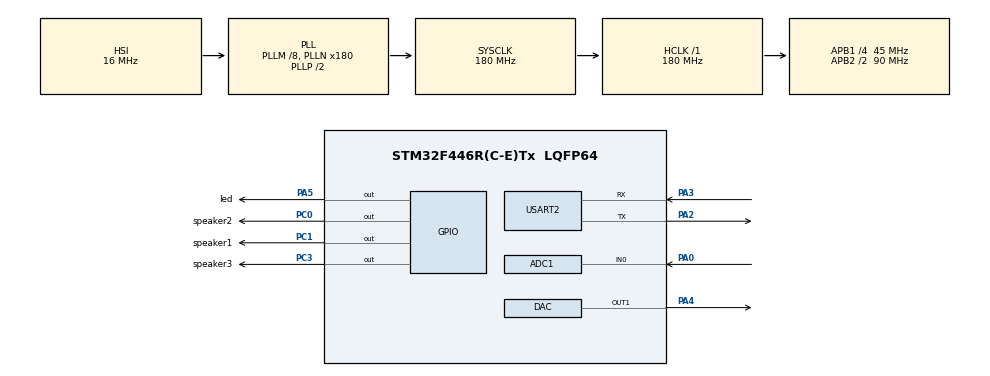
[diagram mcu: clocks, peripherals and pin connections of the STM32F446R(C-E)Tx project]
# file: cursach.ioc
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ADC1.Channel-0\#ChannelRegularConversion=ADC_CHANNEL_0
ADC1.ClockPrescaler=ADC_CLOCK_SYNC_PCLK_DIV4
ADC1.EOCSelection=ADC_EOC_SEQ_CONV
ADC1.ExternalTrigConv=ADC_EXTERNALTRIGCONV_T3_TRGO
ADC1.NbrOfConversionFlag=1
ADC1.Rank-0\#ChannelRegularConversion=1
ADC1.SamplingTime-0\#ChannelRegularConversion=ADC_SAMPLETIME_3CYCLES
ADC1.master=1
DAC.DAC_Trigger=DAC_TRIGGER_T2_TRGO
Dma.DAC1.0.Direction=DMA_MEMORY_TO_PERIPH
Dma.DAC1.0.FIFOMode=DMA_FIFOMODE_ENABLE
Dma.DAC1.0.FIFOThreshold=DMA_FIFO_THRESHOLD_FULL
Dma.DAC1.0.Instance=DMA1_Stream5
Dma.DAC1.0.MemBurst=DMA_MBURST_SINGLE
Dma.DAC1.0.MemDataAlignment=DMA_MDATAALIGN_WORD
Dma.DAC1.0.MemInc=DMA_MINC_ENABLE
Dma.DAC1.0.Mode=DMA_CIRCULAR
Dma.DAC1.0.PeriphBurst=DMA_PBURST_SINGLE
Dma.DAC1.0.PeriphDataAlignment=DMA_PDATAALIGN_WORD
Dma.DAC1.0.PeriphInc=DMA_PINC_DISABLE
Dma.DAC1.0.Priority=DMA_PRIORITY_LOW
Dma.Request0=DAC1
Mcu.Family=STM32F4
Mcu.Name=STM32F446R(C-E)Tx
Mcu.Package=LQFP64
NVIC.ADC_IRQn=true\:0\:0\:false\:false\:true\:true\:true\:true
NVIC.DMA1_Stream5_IRQn=true\:0\:0\:false\:false\:true\:false\:true\:true
NVIC.PriorityGroup=NVIC_PRIORITYGROUP_4
NVIC.TIM2_IRQn=true\:0\:0\:false\:false\:true\:true\:true\:true
NVIC.TIM3_IRQn=true\:0\:0\:false\:false\:true\:true\:true\:true
NVIC.USART2_IRQn=true\:0\:0\:false\:false\:true\:true\:true\:true
PA0-WKUP.Signal=ADCx_IN0
PA13.Mode=Serial_Wire
PA13.Signal=SYS_JTMS-SWDIO
PA14.Mode=Serial_Wire
PA14.Signal=SYS_JTCK-SWCLK
PA2.Mode=Asynchronous
PA2.Signal=USART2_TX
PA3.Mode=Asynchronous
PA3.Signal=USART2_RX
PA4.Signal=COMP_DAC1_group
PA5.GPIO_Label=led
PA5.Signal=GPIO_Output
PC0.GPIO_Label=speaker2
PC0.GPIO_Speed=GPIO_SPEED_FREQ_HIGH
PC0.PinState=GPIO_PIN_RESET
PC0.Signal=GPIO_Output
PC1.GPIO_Label=speaker1
PC1.GPIO_Speed=GPIO_SPEED_FREQ_HIGH
PC1.PinState=GPIO_PIN_RESET
PC1.Signal=GPIO_Output
PC3.GPIO_Label=speaker3
PC3.GPIO_Speed=GPIO_SPEED_FREQ_HIGH
PC3.PinState=GPIO_PIN_RESET
PC3.Signal=GPIO_Output
PH0-OSC_IN.Mode=HSE-External-Oscillator
PH0-OSC_IN.Signal=RCC_OSC_IN
PH1-OSC_OUT.Mode=HSE-External-Oscillator
PH1-OSC_OUT.Signal=RCC_OSC_OUT
ProjectManager.HeapSize=0x200
ProjectManager.StackSize=0x400
ProjectManager.TargetToolchain=STM32CubeIDE
RCC.AHBFreq_Value=180000000
RCC.APB1CLKDivider=RCC_HCLK_DIV4
RCC.APB1Freq_Value=45000000
RCC.APB1TimFreq_Value=90000000
RCC.APB2CLKDivider=RCC_HCLK_DIV2
RCC.APB2Freq_Value=90000000
RCC.APB2TimFreq_Value=180000000
RCC.CortexFreq_Value=180000000
RCC.HCLKFreq_Value=180000000
RCC.PLLM=8
RCC.PLLN=180
RCC.SYSCLKFreq_VALUE=180000000
RCC.SYSCLKSource=RCC_SYSCLKSOURCE_PLLCLK
RCC.USBFreq_Value=180000000
RCC.VCOOutputFreq_Value=360000000
SH.ADCx_IN0.0=ADC1_IN0,IN0
SH.COMP_DAC1_group.0=DAC_OUT1,DAC_OUT1
TIM2.Period=562
TIM2.Prescaler=1
TIM2.TIM_MasterOutputTrigger=TIM_TRGO_UPDATE
TIM2.TIM_MasterSlaveMode=TIM_MASTERSLAVEMODE_ENABLE
TIM3.Period=562
TIM3.Prescaler=1
TIM3.TIM_MasterOutputTrigger=TIM_TRGO_UPDATE
TIM3.TIM_MasterSlaveMode=TIM_MASTERSLAVEMODE_ENABLE
USART2.VirtualMode=VM_ASYNC
VP_TIM2_VS_ClockSourceITR.Mode=TriggerSource_ITR0
VP_TIM3_VS_ClockSourceITR.Mode=TriggerSource_ITR0
board=custom

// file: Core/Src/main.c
/* USER CODE BEGIN Header */
/**
  ******************************************************************************
  * @file           : main.c
  * @brief          : Main program body
  ******************************************************************************
  * @attention
  *
  * Copyright (c) 2025 STMicroelectronics.
  * All rights reserved.
  *
  * This software is licensed under terms that can be found in the LICENSE file
  * in the root directory of this software component.
  * If no LICENSE file comes with this software, it is provided AS-IS.
  *
  ******************************************************************************
  */
/* USER CODE END Header */
#include "main.h"

/* USER CODE BEGIN Includes */
#include "math.h"
/* USER CODE END Includes */

/* USER CODE BEGIN PD */
#define MasSize 416
#define ADCIn MasSize + 200
/* USER CODE END PD */

ADC_HandleTypeDef hadc1;

DAC_HandleTypeDef hdac;
DMA_HandleTypeDef hdma_dac1;

TIM_HandleTypeDef htim2;
TIM_HandleTypeDef htim3;

UART_HandleTypeDef huart2;

/* USER CODE BEGIN PV */
const uint32_t Bark[MasSize] = {1736,2075,2400,2700,2964,3179,3340,3439,3472,3439,3340,3179,2964,2700,2400,2075,1736,1397,1072,772,508,293,132,33,0,33,132,293,508,772,1072,1397,1736,2075,2400,2700,2964,3179,3340,3439,3472,3439,3340,3179,2964,2700,2400,2075,1736,1397,1072,772,508,293,132,33,0,33,132,293,508,772,1072,1397,1736,2075,2400,2700,2964,3179,3340,3439,3472,3439,3340,3179,2964,2700,2400,2075,1736,1397,1072,772,508,293,132,33,0,33,132,293,508,772,1072,1397,1736,2075,2400,2700,2964,3179,3340,3439,3472,3439,3340,3179,2964,2700,2400,2075,1736,1397,1072,772,508,293,132,33,0,33,132,293,508,772,1072,1397,1736,2075,2400,2700,2964,3179,3340,3439,3472,3439,3340,3179,2964,2700,2400,2075,1736,1397,1072,772,508,293,132,33,0,33,132,293,508,772,1072,1397,1736,1397,1072,772,508,293,132,33,0,33,132,293,508,772,1072,1397,1736,2075,2400,2700,2964,3179,3340,3439,3472,3439,3340,3179,2964,2700,2400,2075,1736,1397,1072,772,508,293,132,33,0,33,132,293,508,772,1072,1397,1736,2075,2400,2700,2964,3179,3340,3439,3472,3439,3340,3179,2964,2700,2400,2075,1736,2075,2400,2700,2964,3179,3340,3439,3472,3439,3340,3179,2964,2700,2400,2075,1736,1397,1072,772,508,293,132,33,0,33,132,293,508,772,1072,1397,1736,2075,2400,2700,2964,3179,3340,3439,3472,3439,3340,3179,2964,2700,2400,2075,1736,1397,1072,772,508,293,132,33,0,33,132,293,508,772,1072,1397,1736,1397,1072,772,508,293,132,33,0,33,132,293,508,772,1072,1397,1736,2075,2400,2700,2964,3179,3340,3439,3472,3439,3340,3179,2964,2700,2400,2075,1736,2075,2400,2700,2964,3179,3340,3439,3472,3439,3340,3179,2964,2700,2400,2075,1736,1397,1072,772,508,293,132,33,0,33,132,293,508,772,1072,1397,1736,1397,1072,772,508,293,132,33,0,33,132,293,508,772,1072,1397,1736,2075,2400,2700,2964,3179,3340,3439,3472,3439,3340,3179,2964,2700,2400,2075,1736,2075,2400,2700,2964,3179,3340,3439,3472,3439,3340,3179,2964,2700,2400,2075,1736,1397,1072,772,508,293,132,33,0,33,132,293,508,772,1072,1397};
int32_t buff[ADCIn];
uint16_t num = 0;
volatile int32_t corr = 0;
volatile uint16_t distance = 0;
uint8_t speakerNum = 1;
unsigned char a, buf[3];
unsigned char micdebug[4];
volatile int32_t debug1 = 0;
/* USER CODE END PV */

void SystemClock_Config(void);
static void MX_GPIO_Init(void);
static void MX_DMA_Init(void);
static void MX_ADC1_Init(void);
static void MX_DAC_Init(void);
static void MX_USART2_UART_Init(void);
static void MX_TIM2_Init(void);
static void MX_TIM3_Init(void);
/* USER CODE BEGIN PFP */
void autocorr(int32_t *mas1, const uint32_t *mas2);
int32_t calculateAverage(int32_t *mas1, int32_t length);
/* USER CODE END PFP */

int main(void)
{

  /* MCU Configuration--------------------------------------------------------*/

  /* Reset of all peripherals, Initializes the Flash interface and the Systick. */
  HAL_Init();

  /* Configure the system clock */
  SystemClock_Config();

  /* Initialize all configured peripherals */
  MX_GPIO_Init();
  MX_DMA_Init();
  MX_ADC1_Init();
  MX_DAC_Init();
  MX_USART2_UART_Init();
  MX_TIM2_Init();
  MX_TIM3_Init();
  /* USER CODE BEGIN 2 */
  // Включение первого динамика
  HAL_GPIO_WritePin(GPIOC, GPIO_PIN_1, GPIO_PIN_SET);
  HAL_GPIO_WritePin(GPIOC, GPIO_PIN_0, GPIO_PIN_RESET);
  HAL_GPIO_WritePin(GPIOC, GPIO_PIN_3, GPIO_PIN_RESET);
  HAL_Delay(1000);

  // Инициализация DMA
  HAL_TIM_Base_Start(&htim2);
  HAL_DAC_Start_DMA(&hdac, DAC_CHANNEL_1, (uint32_t*)Bark, MasSize, DAC_ALIGN_12B_R);

  // Инициализация ADC
  HAL_ADC_Start_IT(&hadc1);
  HAL_TIM_PWM_Start(&htim3, TIM_CHANNEL_1);
  /* USER CODE END 2 */

  /* Infinite loop */
  /* USER CODE BEGIN WHILE */
  while (1)
  {
      if(num==ADCIn)
      {
          // Вычисление постоянной составляющей
          int32_t mean = calculateAverage(buff,ADCIn);
          for(uint16_t c = 0;c<ADCIn;c++)
          {
              buff[c] = buff[c]-mean;
          }

          // Взаимная корреляция
          autocorr(buff,Bark);

          num=0;

          // Передача расстояния по UART
          for( a=0; a<3; a++ ) buf[a] = '0';
          while( distance>=100 ) { buf[0]++; distance = distance-100; }
          while( distance>=10 ) { buf[1]++; distance = distance-10; }
          buf[2] += distance;

          if (speakerNum==0){HAL_UART_Transmit(&huart2,"s\n", 2, 1000);}
          HAL_UART_Transmit(&huart2,(uint8_t*)buf, a, 1000);
          HAL_UART_Transmit(&huart2,"\n", 1, 1000);
          HAL_Delay(30);

          // Индикация и переключение динамика
          HAL_GPIO_TogglePin(GPIOA,GPIO_PIN_5);

          speakerNum++;
          if (speakerNum > 2){speakerNum = 0;}

          // Включение следующего динамика
          switch(speakerNum)
          {
          case 0: HAL_GPIO_WritePin(GPIOC, GPIO_PIN_1, GPIO_PIN_SET); break;
          case 1: HAL_GPIO_WritePin(GPIOC, GPIO_PIN_0, GPIO_PIN_SET); break;
          case 2: HAL_GPIO_WritePin(GPIOC, GPIO_PIN_3, GPIO_PIN_SET); break;
          }

          // Перезапуск DMA и ADC
          HAL_DAC_Start_DMA(&hdac, DAC_CHANNEL_1, (uint32_t*)Bark, MasSize, DAC_ALIGN_12B_R);
          HAL_ADC_Start_IT(&hadc1);
      }
  }
    /* USER CODE END WHILE */

  }
}

void SystemClock_Config(void)
{
  RCC_OscInitTypeDef RCC_OscInitStruct = {0};
  RCC_ClkInitTypeDef RCC_ClkInitStruct = {0};

  /** Configure the main internal regulator output voltage
  */
  __HAL_RCC_PWR_CLK_ENABLE();
  __HAL_PWR_VOLTAGESCALING_CONFIG(PWR_REGULATOR_VOLTAGE_SCALE1);

  /** Initializes the RCC Oscillators according to the specified parameters
  * in the RCC_OscInitTypeDef structure.
  */
  RCC_OscInitStruct.OscillatorType = RCC_OSCILLATORTYPE_HSI;
  RCC_OscInitStruct.HSIState = RCC_HSI_ON;
  RCC_OscInitStruct.HSICalibrationValue = RCC_HSICALIBRATION_DEFAULT;
  RCC_OscInitStruct.PLL.PLLState = RCC_PLL_ON;
  RCC_OscInitStruct.PLL.PLLSource = RCC_PLLSOURCE_HSI;
  RCC_OscInitStruct.PLL.PLLM = 8;
  RCC_OscInitStruct.PLL.PLLN = 180;
  RCC_OscInitStruct.PLL.PLLP = RCC_PLLP_DIV2;
  RCC_OscInitStruct.PLL.PLLQ = 2;
  RCC_OscInitStruct.PLL.PLLR = 2;
  if (HAL_RCC_OscConfig(&RCC_OscInitStruct) != HAL_OK)
  {
    Error_Handler();
  }

  /** Activate the Over-Drive mode
  */
  if (HAL_PWREx_EnableOverDrive() != HAL_OK)
  {
    Error_Handler();
  }

  /** Initializes the CPU, AHB and APB buses clocks
  */
  RCC_ClkInitStruct.ClockType = RCC_CLOCKTYPE_HCLK|RCC_CLOCKTYPE_SYSCLK
                              |RCC_CLOCKTYPE_PCLK1|RCC_CLOCKTYPE_PCLK2;
  RCC_ClkInitStruct.SYSCLKSource = RCC_SYSCLKSOURCE_PLLCLK;
  RCC_ClkInitStruct.AHBCLKDivider = RCC_SYSCLK_DIV1;
  RCC_ClkInitStruct.APB1CLKDivider = RCC_HCLK_DIV4;
  RCC_ClkInitStruct.APB2CLKDivider = RCC_HCLK_DIV2;

  if (HAL_RCC_ClockConfig(&RCC_ClkInitStruct, FLASH_LATENCY_5) != HAL_OK)
  {
    Error_Handler();
  }
}

static void MX_ADC1_Init(void)
{

  ADC_ChannelConfTypeDef sConfig = {0};

  /** Configure the global features of the ADC (Clock, Resolution, Data Alignment and number of conversion)
  */
  hadc1.Instance = ADC1;
  hadc1.Init.ClockPrescaler = ADC_CLOCK_SYNC_PCLK_DIV4;
  hadc1.Init.Resolution = ADC_RESOLUTION_12B;
  hadc1.Init.ScanConvMode = DISABLE;
  hadc1.Init.ContinuousConvMode = DISABLE;
  hadc1.Init.DiscontinuousConvMode = DISABLE;
  hadc1.Init.ExternalTrigConvEdge = ADC_EXTERNALTRIGCONVEDGE_RISING;
  hadc1.Init.ExternalTrigConv = ADC_EXTERNALTRIGCONV_T3_TRGO;
  hadc1.Init.DataAlign = ADC_DATAALIGN_RIGHT;
  hadc1.Init.NbrOfConversion = 1;
  hadc1.Init.DMAContinuousRequests = DISABLE;
  hadc1.Init.EOCSelection = ADC_EOC_SEQ_CONV;
  if (HAL_ADC_Init(&hadc1) != HAL_OK)
  {
    Error_Handler();
  }

  /** Configure for the selected ADC regular channel its corresponding rank in the sequencer and its sample time.
  */
  sConfig.Channel = ADC_CHANNEL_0;
  sConfig.Rank = 1;
  sConfig.SamplingTime = ADC_SAMPLETIME_3CYCLES;
  if (HAL_ADC_ConfigChannel(&hadc1, &sConfig) != HAL_OK)
  {
    Error_Handler();
  }

}

static void MX_DAC_Init(void)
{

  DAC_ChannelConfTypeDef sConfig = {0};

  /** DAC Initialization
  */
  hdac.Instance = DAC;
  if (HAL_DAC_Init(&hdac) != HAL_OK)
  {
    Error_Handler();
  }

  /** DAC channel OUT1 config
  */
  sConfig.DAC_Trigger = DAC_TRIGGER_T2_TRGO;
  sConfig.DAC_OutputBuffer = DAC_OUTPUTBUFFER_ENABLE;
  if (HAL_DAC_ConfigChannel(&hdac, &sConfig, DAC_CHANNEL_1) != HAL_OK)
  {
    Error_Handler();
  }

}

static void MX_TIM2_Init(void)
{

  TIM_SlaveConfigTypeDef sSlaveConfig = {0};
  TIM_MasterConfigTypeDef sMasterConfig = {0};

  htim2.Instance = TIM2;
  htim2.Init.Prescaler = 1;
  htim2.Init.CounterMode = TIM_COUNTERMODE_UP;
  htim2.Init.Period = 562;
  htim2.Init.ClockDivision = TIM_CLOCKDIVISION_DIV1;
  htim2.Init.AutoReloadPreload = TIM_AUTORELOAD_PRELOAD_DISABLE;
  if (HAL_TIM_Base_Init(&htim2) != HAL_OK)
  {
    Error_Handler();
  }
  sSlaveConfig.SlaveMode = TIM_SLAVEMODE_DISABLE;
  sSlaveConfig.InputTrigger = TIM_TS_ITR0;
  if (HAL_TIM_SlaveConfigSynchro(&htim2, &sSlaveConfig) != HAL_OK)
  {
    Error_Handler();
  }
  sMasterConfig.MasterOutputTrigger = TIM_TRGO_UPDATE;
  sMasterConfig.MasterSlaveMode = TIM_MASTERSLAVEMODE_ENABLE;
  if (HAL_TIMEx_MasterConfigSynchronization(&htim2, &sMasterConfig) != HAL_OK)
  {
    Error_Handler();
  }

}

static void MX_TIM3_Init(void)
{

  TIM_SlaveConfigTypeDef sSlaveConfig = {0};
  TIM_MasterConfigTypeDef sMasterConfig = {0};

  htim3.Instance = TIM3;
  htim3.Init.Prescaler = 1;
  htim3.Init.CounterMode = TIM_COUNTERMODE_UP;
  htim3.Init.Period = 562;
  htim3.Init.ClockDivision = TIM_CLOCKDIVISION_DIV1;
  htim3.Init.AutoReloadPreload = TIM_AUTORELOAD_PRELOAD_DISABLE;
  if (HAL_TIM_Base_Init(&htim3) != HAL_OK)
  {
    Error_Handler();
  }
  sSlaveConfig.SlaveMode = TIM_SLAVEMODE_DISABLE;
  sSlaveConfig.InputTrigger = TIM_TS_ITR0;
  if (HAL_TIM_SlaveConfigSynchro(&htim3, &sSlaveConfig) != HAL_OK)
  {
    Error_Handler();
  }
  sMasterConfig.MasterOutputTrigger = TIM_TRGO_UPDATE;
  sMasterConfig.MasterSlaveMode = TIM_MASTERSLAVEMODE_ENABLE;
  if (HAL_TIMEx_MasterConfigSynchronization(&htim3, &sMasterConfig) != HAL_OK)
  {
    Error_Handler();
  }

}

static void MX_USART2_UART_Init(void)
{

  huart2.Instance = USART2;
  huart2.Init.BaudRate = 115200;
  huart2.Init.WordLength = UART_WORDLENGTH_8B;
  huart2.Init.StopBits = UART_STOPBITS_1;
  huart2.Init.Parity = UART_PARITY_NONE;
  huart2.Init.Mode = UART_MODE_TX_RX;
  huart2.Init.HwFlowCtl = UART_HWCONTROL_NONE;
  huart2.Init.OverSampling = UART_OVERSAMPLING_16;
  if (HAL_UART_Init(&huart2) != HAL_OK)
  {
    Error_Handler();
  }

}

static void MX_DMA_Init(void)
{

  /* DMA controller clock enable */
  __HAL_RCC_DMA1_CLK_ENABLE();

  /* DMA interrupt init */
  /* DMA1_Stream5_IRQn interrupt configuration */
  HAL_NVIC_SetPriority(DMA1_Stream5_IRQn, 0, 0);
  HAL_NVIC_EnableIRQ(DMA1_Stream5_IRQn);

}

static void MX_GPIO_Init(void)
{
  GPIO_InitTypeDef GPIO_InitStruct = {0};

  /* GPIO Ports Clock Enable */
  __HAL_RCC_GPIOH_CLK_ENABLE();
  __HAL_RCC_GPIOC_CLK_ENABLE();
  __HAL_RCC_GPIOA_CLK_ENABLE();

  /*Configure GPIO pin Output Level */
  HAL_GPIO_WritePin(GPIOC, speaker2_Pin|speaker1_Pin|speaker3_Pin, GPIO_PIN_RESET);

  /*Configure GPIO pin Output Level */
  HAL_GPIO_WritePin(led_GPIO_Port, led_Pin, GPIO_PIN_RESET);

  /*Configure GPIO pins : speaker2_Pin speaker1_Pin speaker3_Pin */
  GPIO_InitStruct.Pin = speaker2_Pin|speaker1_Pin|speaker3_Pin;
  GPIO_InitStruct.Mode = GPIO_MODE_OUTPUT_PP;
  GPIO_InitStruct.Pull = GPIO_NOPULL;
  GPIO_InitStruct.Speed = GPIO_SPEED_FREQ_HIGH;
  HAL_GPIO_Init(GPIOC, &GPIO_InitStruct);

  /*Configure GPIO pin : led_Pin */
  GPIO_InitStruct.Pin = led_Pin;
  GPIO_InitStruct.Mode = GPIO_MODE_OUTPUT_PP;
  GPIO_InitStruct.Pull = GPIO_NOPULL;
  GPIO_InitStruct.Speed = GPIO_SPEED_FREQ_LOW;
  HAL_GPIO_Init(led_GPIO_Port, &GPIO_InitStruct);

}

/* USER CODE BEGIN 4 */
void autocorr(int32_t *mas1, const uint32_t *mas2)
{
    volatile int32_t maxcorr = 0;
    volatile int32_t ans = 0;
    volatile int32_t sdvig = 0;

    for(uint16_t t = 0; t<ADCIn; t++)
    {
        volatile int32_t vnutr = 0;
        for(volatile uint16_t i = 0;i<MasSize;i++)
        {
            sdvig = i+t;
            if(sdvig<ADCIn)
            {
                vnutr=vnutr+(mas1[sdvig])*((int16_t)mas2[i]-1736);
            }
        }
        corr = vnutr;
        if(corr>maxcorr){maxcorr=corr;ans=t;}
    }
    distance=round(ans*33/16);
}

int32_t calculateAverage(int32_t *mas1, int32_t length) {
    int sum = 0;
    for (int i = 0; i < length; i++) {
        sum += mas1[i];
    }
    int average = sum / length;
    return average;
}

void HAL_ADC_ConvCpltCallback(ADC_HandleTypeDef* hadc)
{
    if(hadc->Instance == ADC1)
    {
        if(num<(ADCIn))
        {
            buff[num]=HAL_ADC_GetValue(&hadc1);
            num++;
        }
        else
        {
            HAL_GPIO_WritePin(GPIOC, GPIO_PIN_1, GPIO_PIN_RESET);
            HAL_GPIO_WritePin(GPIOC, GPIO_PIN_0, GPIO_PIN_RESET);
            HAL_GPIO_WritePin(GPIOC, GPIO_PIN_3, GPIO_PIN_RESET);
            HAL_ADC_Stop_IT(&hadc1);
        }
    }
}
/* USER CODE END 4 */

void Error_Handler(void)
{
  __disable_irq();
  while (1)
  {
  }
}
